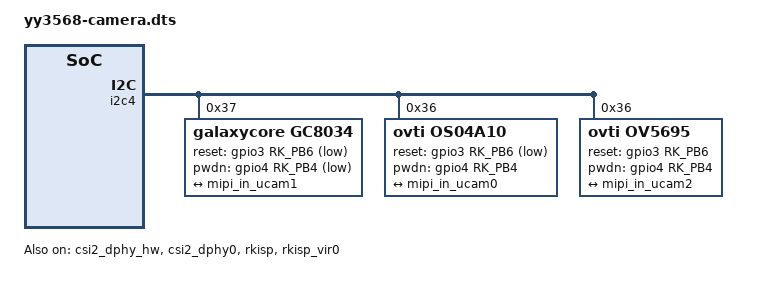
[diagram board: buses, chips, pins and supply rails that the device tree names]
/dts-v1/;
/plugin/;

#include <dt-bindings/clock/rk3568-cru.h>
#include <dt-bindings/power/rk3568-power.h>
#include <dt-bindings/gpio/gpio.h>
#include <dt-bindings/pinctrl/rockchip.h>

/ {
	metadata {
		title ="Enable YY3568 Camera";
		compatible = "youyeetoo,yy3568";
	};

    fragment@0 {
        target = <&csi2_dphy_hw>;

        __overlay__ {
			status = "okay";
		};
    };

    fragment@1 {
        target = <&csi2_dphy0>;

        __overlay__ {
			status = "okay";

            ports {
		        #address-cells = <1>;
		        #size-cells = <0>;
		
		        port@0 {
			        reg = <0>;
			        #address-cells = <1>;
			        #size-cells = <0>;

			        mipi_in_ucam0: endpoint@1 {
			        	reg = <1>;
			        	remote-endpoint = <&ucam_out0>;
			        	data-lanes = <1 2 3 4>;
			        };
			
			        mipi_in_ucam1: endpoint@2 {
			        	reg = <2>;
			        	remote-endpoint = <&gc8034_out>;
			        	data-lanes = <1 2 3 4>;
			        };
			
			        mipi_in_ucam2: endpoint@3 {
			        	reg = <3>;
			        	remote-endpoint = <&ov5695_out>;
			        	data-lanes = <1 2>;
			        };
		        };
		
		        port@1 {
		        	reg = <1>;
		        	#address-cells = <1>;
		        	#size-cells = <0>;

		        	csidphy_out: endpoint@0 {
		        		reg = <0>;
		        		remote-endpoint = <&isp0_in>;
		        	};
		        };
	        };
		};
    };

    fragment@2 {
        target = <&i2c4>;

        __overlay__ {
			status = "okay";

            gc8034: gc8034@37 {
		        compatible = "galaxycore,gc8034";
		        reg = <0x37>;
		        clocks = <&cru CLK_CIF_OUT>;
		        clock-names = "xvclk";
		        pinctrl-names = "default";
		        pinctrl-0 = <&cif_clk>;
		        reset-gpios = <&gpio3 RK_PB6 GPIO_ACTIVE_LOW>;
		        pwdn-gpios = <&gpio4 RK_PB4 GPIO_ACTIVE_LOW>;
		        rockchip,grf = <&grf>;
		        rockchip,camera-module-index = <0>;
		        rockchip,camera-module-facing = "back";
		        rockchip,camera-module-name = "RK-CMK-8M-2-v1";
		        rockchip,camera-module-lens-name = "CK8401";
		        status = "okay";

		        port {
		        	gc8034_out: endpoint {
		        		remote-endpoint = <&mipi_in_ucam1>;
		        		data-lanes = <1 2 3 4>;
		        	};
		        };
	        };
	
	        os04a10: os04a10@36 {
	        	compatible = "ovti,os04a10";
	        	reg = <0x36>;
	        	clocks = <&cru CLK_CIF_OUT>;
	        	clock-names = "xvclk";
	        	power-domains = <&power RK3568_PD_VI>;
	        	pinctrl-names = "default";
	        	pinctrl-0 = <&cif_clk>;
	        	reset-gpios = <&gpio3 RK_PB6 GPIO_ACTIVE_LOW>;
	        	pwdn-gpios = <&gpio4 RK_PB4 GPIO_ACTIVE_HIGH>;
	        	rockchip,camera-module-index = <0>;
	        	rockchip,camera-module-facing = "back";
	        	rockchip,camera-module-name = "CMK-OT1607-FV1";
	        	rockchip,camera-module-lens-name = "M12-40IRC-4MP-F16";

	        	port {
	        		ucam_out0: endpoint {
	        			remote-endpoint = <&mipi_in_ucam0>;
	        			data-lanes = <1 2 3 4>;
	        		};
	        	};
	        };
	
	        ov5695: ov5695@36 {
	        	compatible = "ovti,ov5695";
	        	reg = <0x36>;
	        	clocks = <&cru CLK_CIF_OUT>;
	        	clock-names = "xvclk";
	        	power-domains = <&power RK3568_PD_VI>;
	        	pinctrl-names = "default";
	        	pinctrl-0 = <&cif_clk>;
	        	reset-gpios = <&gpio3 RK_PB6 GPIO_ACTIVE_HIGH>;
	        	pwdn-gpios = <&gpio4 RK_PB4 GPIO_ACTIVE_HIGH>;
	        	rockchip,camera-module-index = <0>;
	        	rockchip,camera-module-facing = "back";
	        	rockchip,camera-module-name = "TongJu";
	        	rockchip,camera-module-lens-name = "CHT842-MD";
	        	status = "okay";

	        	port {
	        		ov5695_out: endpoint {
	        			remote-endpoint = <&mipi_in_ucam2>;
	        			data-lanes = <1 2>;
	        		};
	        	};
	        };
		};
    };

    fragment@3 {
        target = <&rkisp>;

        __overlay__ {
			status = "okay";
		};
    };

    fragment@4 {
        target = <&rkisp_mmu>;

        __overlay__ {
			status = "okay";
		};
    };

    fragment@5 {
        target = <&rkisp_vir0>;

        __overlay__ {
			status = "okay";

            port {
		        #address-cells = <1>;
		        #size-cells = <0>;

		        isp0_in: endpoint@0 {
		        	reg = <0>;
		        	remote-endpoint = <&csidphy_out>;
		        };
	        };
		};
    };
};
